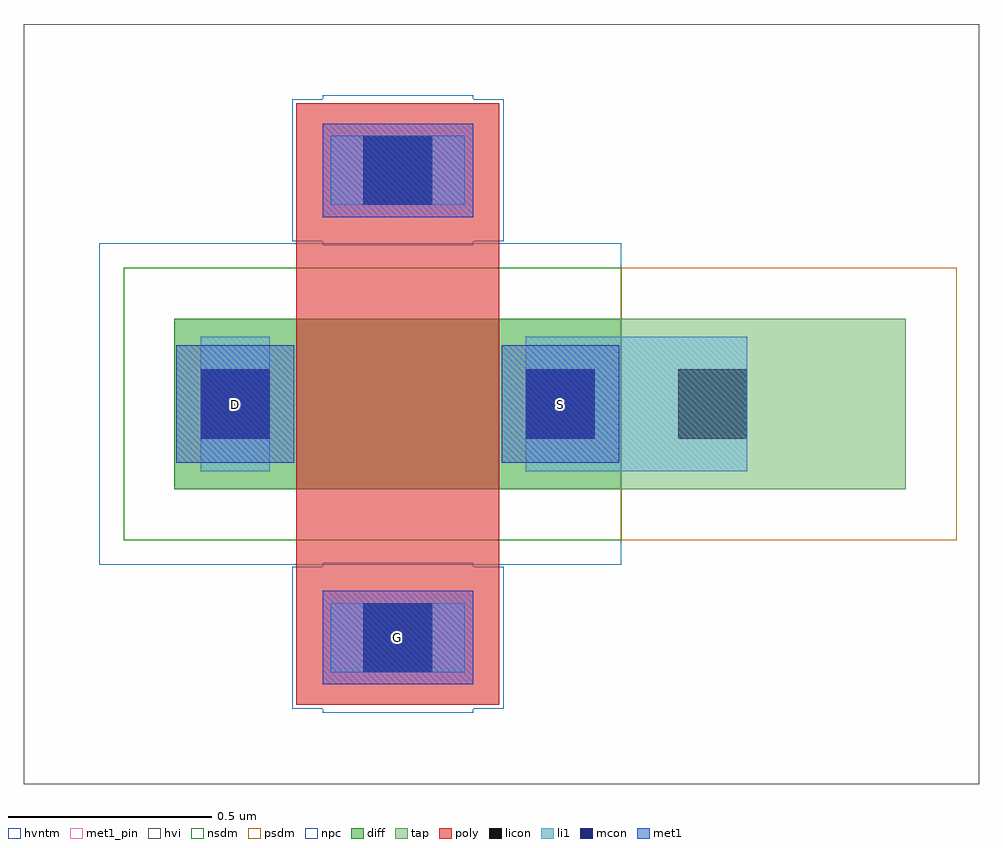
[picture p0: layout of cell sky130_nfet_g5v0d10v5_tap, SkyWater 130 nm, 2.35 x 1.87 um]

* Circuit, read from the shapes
.subckt sky130_nfet_g5v0d10v5_tap D G S
XM1 S G D S sky130_fd_pr__nfet_g5v0d10v5 w=0.42 l=0.5
.ends

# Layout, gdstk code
import gdstk
lib = gdstk.Library(unit=1e-6, precision=1e-09)
def R(c, l, rs):  # rectangles x0, y0, x1, y1
    for r in rs: c.add(gdstk.rectangle(r[:2], r[2:], *l))
diff = (65, 20)
tap = (65, 44)
poly = (66, 20)
licon = (66, 44)
li1 = (67, 20)
mcon = (67, 44)
met1_pin = (68, 16)
met1 = (68, 20)
hvi = (75, 20)
nsdm = (93, 44)
psdm = (94, 20)
npc = (95, 20)
hvntm = (125, 20)

nfet = lib.new_cell('nfet')
R(nfet, diff, [(0,0,1.1,0.42)])
R(nfet, tap, [(1.1,0,1.55,0.42)])
R(nfet, poly, [(0.3,-0.53,0.8,-0.2), (0.3,-0.2,0.8,0.62), (0.3,0.62,0.8,0.95)])
R(nfet, licon, [(0.465,-0.45,0.635,-0.28), (0.065,0.125,0.235,0.295), (0.865,0.125,1.035,0.295), (1.24,0.125,1.41,0.295), (0.465,0.7,0.635,0.87)])
R(nfet, li1, [(0.385,-0.45,0.715,-0.28), (0.065,0.045,0.235,0.375), (0.865,0.045,1.035,0.375), (1.24,0.045,1.41,0.375), (0.385,0.7,0.715,0.87)])
R(nfet, mcon, [(0.465,-0.45,0.635,-0.28), (0.065,0.125,0.235,0.295), (0.865,0.125,1.035,0.295), (0.465,0.7,0.635,0.87)])
R(nfet, met1, [(0.365,-0.48,0.735,-0.25), (0.005,0.065,0.295,0.355), (0.805,0.065,1.095,0.355), (0.365,0.67,0.735,0.9)])
R(nfet, hvi, [(-0.37,-0.725,1.86,1.145)])
R(nfet, nsdm, [(-0.125,-0.125,1.1,0.545)])
R(nfet, psdm, [(1.1,-0.125,1.675,0.545)])
R(nfet, npc, [(0.29,-0.54,0.81,-0.19), (0.29,0.61,0.81,0.96)])
R(nfet, hvntm, [(-0.185,-0.185,1.1,0.605)])

sky130_nfet_g5v0d10v5_ta = lib.new_cell('sky130_nfet_g5v0d10v5_tap')
R(sky130_nfet_g5v0d10v5_ta, tap, [(1.1,0,1.8,0.42)])
R(sky130_nfet_g5v0d10v5_ta, li1, [(1.035,0.045,1.24,0.375)])
R(sky130_nfet_g5v0d10v5_ta, met1_pin, [(0.465,-0.45,0.635,-0.28), (0.065,0.125,0.235,0.295), (0.865,0.125,1.035,0.295)])
R(sky130_nfet_g5v0d10v5_ta, hvi, [(-0.37,-0.725,1.98,1.145)])
R(sky130_nfet_g5v0d10v5_ta, psdm, [(1.1,-0.125,1.925,0.545)])
R(sky130_nfet_g5v0d10v5_ta, npc, [(0.365,-0.55,0.735,-0.18), (0.365,0.6,0.735,0.97)])
sky130_nfet_g5v0d10v5_ta.add(gdstk.Reference(nfet, (0,0)))
sky130_nfet_g5v0d10v5_ta.add(gdstk.Label('D', (0.15,0.21), layer=68, texttype=5))
sky130_nfet_g5v0d10v5_ta.add(gdstk.Label('S', (0.95,0.21), layer=68, texttype=5))
sky130_nfet_g5v0d10v5_ta.add(gdstk.Label('G', (0.55,-0.365), layer=68, texttype=5))

lib.write_gds('sky130_nfet_g5v0d10v5_tap.gds')
